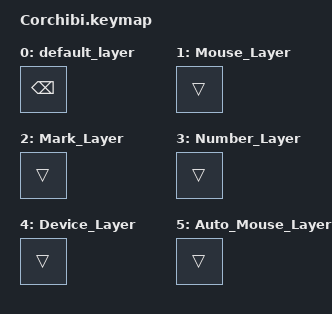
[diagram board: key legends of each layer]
#include <dt-bindings/zmk/mouse.h>
#include <behaviors.dtsi>
#include <dt-bindings/zmk/bt.h>
#include <dt-bindings/zmk/keys.h>
#include <dt-bindings/zmk/pointing.h>

/ {
    keymap {
        compatible = "zmk,keymap";

        default_layer {
            bindings = <
&kp ESC  &kp TAB  &kp LSHFT  &kp LCTRL  &kp A  &kp Z  &kp LGUI  &kp W  &kp X  &kp LALT  &kp E  &kp D  &kp R  &kp F  &kp V  &mo 2  &kp G  &kp B  &lt 2 TAB  &trans  &kp Q  &kp S  &kp C  &kp T  &lt 1 SPACE  &kp BSPC  &kp RET  &kp UP  &lt 4 DOWN  &kp PIPE  &lt 1 QMARK  &kp RIGHT  &kp O  &kp DOT  &kp LEFT  &kp I  &kp K  &kp U  &kp J  &kp M  &trans  &kp H  &kp N  &lt 3 ENTER  &trans  &kp P  &kp L  &kp COMMA  &kp Y  &kp BACKSPACE
            >;
        };

        Mouse_Layer {
            bindings = <
&trans  &trans  &trans  &trans  &trans  &trans  &trans  &trans  &trans  &trans  &trans  &trans  &trans  &trans  &trans  &trans  &trans  &trans  &trans  &trans  &kp ESC  &trans  &trans  &trans  &trans  &trans  &trans  &trans  &trans  &kp RA(RG(R))  &kp RA(RG(N))  &kp RA(RG(S))  &kp LG(RIGHT)  &kp RIGHT  &kp RC(RG(RS(NUMBER_4)))  &kp RC(UP)  &kp UP  &kp RG(LEFT)  &mkp LCLK  &kp LEFT  &trans  &kp RG(RA(L))  &kp RG(RA(B))  &kp RG(RA(ENTER))  &trans  &kp LG(T)  &mkp RCLK  &kp DOWN  &kp RG(W)  &trans
            >;
        };

        Mark_Layer {
            bindings = <
&trans  &trans  &trans  &trans  &trans  &trans  &trans  &kp AT_SIGN  &trans  &trans  &kp HASH  &kp TILDE  &kp DOLLAR  &kp COLON  &trans  &trans  &kp MINUS  &trans  &kp LANGUAGE_2  &trans  &kp EXCL  &trans  &trans  &kp PERCENT  &trans  &trans  &trans  &trans  &trans  &kp RBRC  &trans  &trans  &kp LPAR  &trans  &trans  &kp ASTRK  &kp QUESTION  &kp AMPS  &kp DOUBLE_QUOTES  &trans  &trans  &kp PLUS  &trans  &kp LANGUAGE_1  &trans  &kp RIGHT_PARENTHESIS  &kp LBRC  &trans  &kp CARET  &trans
            >;
        };

        Number_Layer {
            bindings = <
&trans  &trans  &trans  &trans  &trans  &kp C_BRI_DEC  &trans  &kp N2  &kp C_BRI_INC  &trans  &kp N3  &kp GRAVE  &kp N4  &kp SEMICOLON  &kp LG(SPACE)  &trans  &kp UNDERSCORE  &kp LCTRL  &kp LANG2  &trans  &kp N1  &trans  &kp LC(UP)  &kp N5  &trans  &trans  &trans  &trans  &trans  &trans  &kp C_MUTE  &kp C_VOL_UP  &kp N9  &kp C_NEXT  &kp C_VOL_DN  &kp N8  &kp SLASH  &kp N7  &kp SQT  &kp C_PREV  &trans  &kp EQUAL  &trans  &kp LANG1  &trans  &kp N0  &trans  &kp C_PP  &kp N6  &trans
            >;
        };

        Device_Layer {
            bindings = <
&trans  &trans  &trans  &trans  &trans  &trans  &trans  &bt BT_SEL 2  &trans  &trans  &bt BT_SEL 3  &trans  &trans  &trans  &trans  &trans  &trans  &trans  &trans  &trans  &bt BT_SEL 1  &trans  &trans  &trans  &trans  &bt BT_CLR  &bt BT_CLR_ALL  &trans  &trans  &trans  &trans  &trans  &bt BT_SEL 3  &trans  &trans  &bt BT_SEL 2  &trans  &bt BT_SEL 1  &trans  &trans  &trans  &trans  &trans  &trans  &trans  &trans  &trans  &trans  &bt BT_SEL 0  &trans
            >;
        };

        Auto_Mouse_Layer {
            bindings = <
&trans  &trans  &trans  &trans  &trans  &trans  &trans  &trans  &trans  &trans  &trans  &trans  &trans  &trans  &trans  &trans  &trans  &trans  &trans  &trans  &kp ESC  &trans  &trans  &trans  &trans  &trans  &trans  &trans  &trans  &trans  &trans  &trans  &trans  &kp RIGHT  &trans  &kp RC(UP)  &kp UP  &trans  &mkp LCLK  &kp LEFT  &trans  &trans  &trans  &trans  &trans  &trans  &mkp RCLK  &kp DOWN  &trans  &trans
            >;
        };
    };
};
